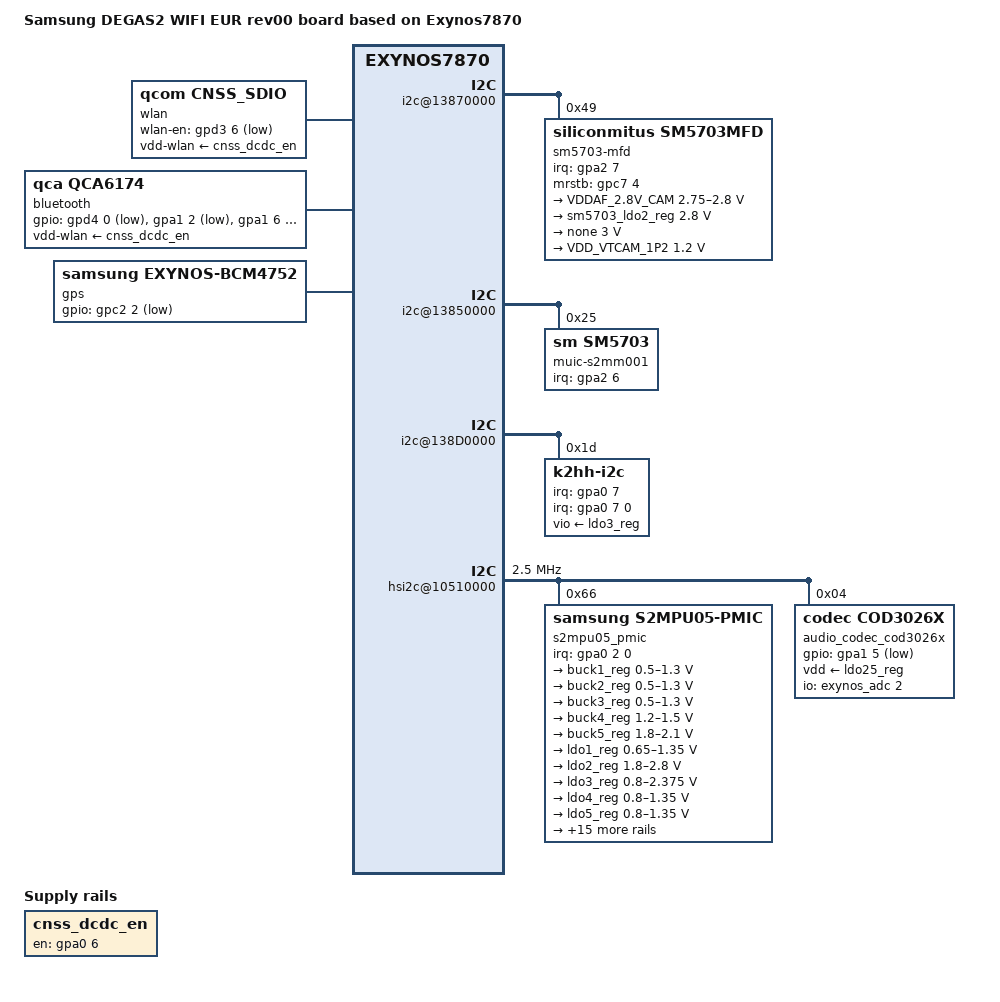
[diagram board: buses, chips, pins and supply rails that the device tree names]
/*
 * SAMSUNG UNIVERSAL8890 board device tree source
 *
 * Copyright (c) 2013 Samsung Electronics Co., Ltd.
 *		http://www.samsung.com
 *
 * This program is free software; you can redistribute it and/or modify
 * it under the terms of the GNU General Public License version 2 as
 * published by the Free Software Foundation.
*/

/dts-v1/;
#include "exynos7870-degas2wifi_common.dtsi"
#include "modem-ss315ap-pdata.dtsi"
#include "exynos7870-degas2wifi_eur_bmw_gpio_00.dtsi"
#include "exynos7870-degas2wifi_eur_bmw_battery_00.dtsi"

/ {
	model = "Samsung DEGAS2 WIFI EUR rev00 board based on Exynos7870";
        model_info-chip = <7870>;
        model_info-platform = "android";
        model_info-subtype = "samsung";
        model_info-hw_rev = <0>;
        model_info-hw_rev_end = <0>;
	compatible = "samsung, DEGAS2 WIFI EUR BMW 00", "samsung,exynos7870";

	cnss_dcdc_en: cnss_dcdc_en {
		compatible = "regulator-fixed";
		regulator-name = "cnss_dcdc_en";
		startup-delay-us = <4000>;
		enable-active-high;
		gpio = <&gpa0 6 0>;
	};

	i2c@13870000 {
		status = "okay";
		sm5703-mfd@49 {
			compatible = "siliconmitus,sm5703mfd";
			reg = <0x49>;
			pinctrl-names = "default";
			pinctrl-0 = <&chg_en &if_pmic_irq>;
			sm5703,irq-gpio = <&gpa2 7 0>;
			sm5703,mrstb-gpio = <&gpc7 4 0>;

			sm5703_ldo1 {
				compatible = "siliconmitus,sm5703-ldo1";
				regulator-name = "VDDAF_2.8V_CAM"; /* change name by yourself */
				regulator-min-microvolt = <2750000>;
				regulator-max-microvolt = <2800000>; /* max == min then apply_uV = 1 */
				/* regulator-microvolt-offset = < >; optional*/
				/* regulator-boot-on;*/ /* = "yes"; optional, exist = enabled */
				/* regulator-always-on;*/ /* = "yes"; optional, exist = enabled */
				/* regulator-ramp-delay = <100>; optional*/
			};

			sm5703_ldo2_reg: sm5703_ldo2 {
				compatible = "siliconmitus,sm5703-ldo2";
				regulator-name = "VDD_SENSOR_2P8"; /* change name by yourself */
				regulator-min-microvolt = <2800000>;
				regulator-max-microvolt = <2800000>; /* max == min then apply_uV = 1 */
				/* regulator-microvolt-offset = < >; optional*/
				/* regulator-boot-on;   = "yes"; optional, exist = enabled */
				regulator-always-on;   /* "yes"; optional, exist = enabled */
				/* regulator-ramp-delay = <100>; optional*/
			};

			sm5703_ldo3 {
				compatible = "siliconmitus,sm5703-ldo3";
				regulator-name = "none"; /* change name by yourself */
				regulator-min-microvolt = <3000000>;
				regulator-max-microvolt = <3000000>; /* max == min then apply_uV = 1 */
				/* regulator-microvolt-offset = < >; optional*/
				/* regulator-boot-on = "yes"; optional, exist = enabled */
				/* regulator-always-on = "yes"; optional, exist = enabled */
				/* regulator-ramp-delay = <100>; optional*/
			};

			sm5703_buck {
				compatible = "siliconmitus,sm5703-buck";
				regulator-name = "VDD_VTCAM_1P2"; /* change name by yourself */
				regulator-min-microvolt = <1200000>;
				regulator-max-microvolt = <1200000>; /* max == min then apply_uV = 1 */
				/* regulator-microvolt-offset = < >; optional*/
				/* regulator-boot-on = "yes"; optional, exist = enabled */
				/* regulator-always-on = "yes"; optional, exist = enabled */
				/* regulator-ramp-delay = <100>; optional*/
			};
		};
	};

	i2c@13850000 {
		status = "okay";

		muic-s2mm001@25 {
			compatible = "sm,sm5703";
			reg = <0x25>;
			pinctrl-names = "default";
			pinctrl-0 = <&muic_irq>;
			sm5703,irq-gpio = <&gpa2 6 0>;
		};
	};

	pinctrl@139F0000 {
		muic_irq: muic_irq {
			samsung,pins = "gpa2-6";
			samsung,pin-function = <0x0>;
			samsung,pin-pud = <3>;
		};
	};

	i2c@138D0000 {
		samsung,i2c-sda-delay = <100>;
		samsung,i2c-max-bus-freq = <400000>;
		status = "okay";
		#address-cells = <1>;
		#size-cells = <0>;
		k2hh-i2c@1D {
			compatible = "k2hh-i2c";
			reg = <0x1D>;
			pinctrl-names = "default";
			pinctrl-0 = <&acc_int>;
			interrupt-parent = <&gpa0>;
			interrupts = <7 0 0>;
			k2hh,irq_gpio = <&gpa0 7 0>;
			k2hh,vio-supply = <&ldo3_reg>;
			k2hh,axis_map_x = <0>;
			k2hh,axis_map_y = <1>;
			k2hh,axis_map_z = <2>;
			k2hh,negate_x = <1>;
			k2hh,negate_y = <1>;
			k2hh,negate_z = <1>;
			k2hh,poll_interval = <100>;
			k2hh,min_interval = <2>;
		};
	};

	but_zones: but_zones {
		#list-but-cells = <3>;
	};

	hsi2c@10510000 {
		status = "okay";
		samsung,hs-mode;
		clock-frequency = <2500000>;
		samsung,hsi2c-batcher;
		#address-cells = <1>;
		#size-cells = <0>;

		s2mpu05_pmic@66 {
			compatible = "samsung,s2mpu05-pmic";
			reg = <0x66>;
			ten-bit-address;
			interrupts = <2 0 0>;
			interrupt-parent = <&gpa0>;
			pinctrl-names = "default";
			pinctrl-0 = <&pmic_irq &pm_wrsti>;
			g3d_en = <1>; /* 1 : enable , 0 : disable */
			buck2en_pin = "etc1-3";
			buck2en_addr = "139B0080.pinctrl";
			/* RTC: wtsr/smpl */
			wtsr_en = <1>; /* enable */
			smpl_en = <1>; /* enable */
			wtsr_timer_val = <3>;   /* 1000ms */
			smpl_timer_val = <0>;   /* 100ms */
			check_jigon = <0>; /* do not check jigon */
			/* RTC: If it's first boot, reset rtc to 1/1/2016 12:00:00(Fri) */
			init_time,sec = <0>;
			init_time,min = <0>;
			init_time,hour = <12>;
			init_time,mday = <1>;
			init_time,mon = <0>;
			init_time,year = <116>;
			init_time,wday = <5>;

			regulators {
				buck1_reg: BUCK1 {
					regulator-name = "BUCK1";
					regulator-min-microvolt = <500000>;
					regulator-max-microvolt = <1300000>;
					regulator-always-on;
					regulator-boot-on;
					regulator-ramp-delay = <12000>;
					regulator-initial-mode = <1>;
					regulator-expected-consumer = <2>;
				};

				buck2_reg: BUCK2 {
					regulator-name = "BUCK2";
					regulator-min-microvolt = <500000>;
					regulator-max-microvolt = <1300000>;
					regulator-always-on;
					regulator-boot-on;
					regulator-ramp-delay = <12000>;
					regulator-initial-mode = <2>;		/* MIF mode */
					regulator-expected-consumer = <4>;
				};

				buck3_reg: BUCK3 {
					regulator-name = "BUCK3";
					regulator-min-microvolt = <500000>;
					regulator-max-microvolt = <1300000>;
					regulator-always-on;
					regulator-boot-on;
					regulator-ramp-delay = <12000>;
					regulator-initial-mode = <2>;
				};

				buck4_reg: BUCK4 {
					regulator-name = "BUCK4";
					regulator-min-microvolt = <1200000>;
					regulator-max-microvolt = <1500000>;
					regulator-always-on;
					regulator-boot-on;
					regulator-ramp-delay = <12000>;
					regulator-initial-mode = <2>;
				};

				buck5_reg: BUCK5 {
					regulator-name = "BUCK5";
					regulator-min-microvolt = <1800000>;
					regulator-max-microvolt = <2100000>;
					regulator-always-on;
					regulator-boot-on;
					regulator-ramp-delay = <12000>;
					regulator-initial-mode = <2>;
				};

				ldo1_reg: LDO1 {
					regulator-name = "vdd_ldo1";
					regulator-min-microvolt = <650000>;
					regulator-max-microvolt = <1350000>;
					regulator-always-on;
					regulator-boot-on;
					regulator-ramp-delay = <12000>;
					regulator-initial-mode = <3>;
				};

				ldo2_reg: LDO2 {
					regulator-name = "vqmmc";
					regulator-min-microvolt = <1800000>;
					regulator-max-microvolt = <2800000>;
					regulator-ramp-delay = <12000>;
					regulator-initial-mode = <0>;
				};

				ldo3_reg: LDO3 {
					regulator-name = "vdd_ldo3";
					regulator-min-microvolt = <800000>;
					regulator-max-microvolt = <2375000>;
					regulator-boot-on;
					regulator-always-on;
					regulator-ramp-delay = <12000>;
					regulator-initial-mode = <3>;
				};

				ldo4_reg: LDO4 {
					regulator-name = "vdd_ldo4";
					regulator-min-microvolt = <800000>;
					regulator-max-microvolt = <1350000>;
					regulator-boot-on;
					regulator-always-on;
					regulator-ramp-delay = <12000>;
					regulator-initial-mode = <1>;
				};

				ldo5_reg: LDO5 {
					regulator-name = "vdd_ldo5";
					regulator-min-microvolt = <800000>;
					regulator-max-microvolt = <1350000>;
					regulator-boot-on;
					regulator-always-on;
					regulator-ramp-delay = <12000>;
					regulator-initial-mode = <3>;
				};

				ldo6_reg: LDO6 {
					regulator-name = "vdd_ldo6";
					regulator-min-microvolt = <800000>;
					regulator-max-microvolt = <1350000>;
					regulator-boot-on;
					regulator-always-on;
					regulator-ramp-delay = <12000>;
					regulator-initial-mode = <1>;
				};

				ldo7_reg: LDO7 {
					regulator-name = "vdd_ldo7";
					regulator-min-microvolt = <800000>;
					regulator-max-microvolt = <2375000>;
					regulator-boot-on;
					regulator-always-on;
					regulator-ramp-delay = <12000>;
					regulator-initial-mode = <1>;
				};

				ldo8_reg: LDO8 {
					regulator-name = "vdd_ldo8";
					regulator-min-microvolt = <1800000>;
					regulator-max-microvolt = <3375000>;
					regulator-boot-on;
					regulator-always-on;
					regulator-ramp-delay = <12000>;
					regulator-initial-mode = <1>;
				};

				ldo9_reg: LDO9 {
					regulator-name = "vdd_ldo9";
					regulator-min-microvolt = <650000>;
					regulator-max-microvolt = <1350000>;
					regulator-always-on;
					regulator-ramp-delay = <12000>;
					regulator-initial-mode = <1>;
				};

				ldo10_reg: LDO10 {
					regulator-name = "vdd_ldo10";
					regulator-min-microvolt = <650000>;
					regulator-max-microvolt = <1350000>;
					regulator-always-on;
					regulator-ramp-delay = <12000>;
					regulator-initial-mode = <1>;
				};

				ldo25_reg: LDO25 {
					regulator-name = "VDDIO_1.8V_CAM";
					regulator-min-microvolt = <1800000>;
					regulator-max-microvolt = <1800000>;
					regulator-initial-mode = <0>;
				};

				ldo26_reg: LDO26 {
					regulator-name = "vemmc";
					regulator-min-microvolt = <1800000>;
					regulator-max-microvolt = <3375000>;
					regulator-boot-on;
					regulator-ramp-delay = <12000>;
					regulator-initial-mode = <3>;
				};

				ldo27_reg: LDO27 {
					regulator-name = "vqemmc";
					regulator-min-microvolt = <800000>;
					regulator-max-microvolt = <2375000>;
					regulator-boot-on;
					regulator-ramp-delay = <12000>;
					regulator-initial-mode = <3>;
				};

				ldo29_reg: LDO29 {
					regulator-name = "VDD_CAM_AF_2P8";
					regulator-min-microvolt = <2800000>;
					regulator-max-microvolt = <2800000>;
					regulator-initial-mode = <0>;
				};

				ldo30_reg: LDO30 {
					regulator-name = "LCD_1P8";
					regulator-min-microvolt = <1800000>;
					regulator-max-microvolt = <1800000>;
					regulator-initial-mode = <3>;
				};

				ldo31_reg: LDO31 {
					regulator-name = "vdd_ldo31";
					regulator-min-microvolt = <2800000>;
					regulator-max-microvolt = <2800000>;
					regulator-always-on;
					regulator-ramp-delay = <12000>;
				        regulator-initial-mode = <3>;
				};

				ldo32_reg: LDO32 {
					regulator-name = "TSP_VDD_3P3";
					regulator-min-microvolt = <3300000>;
					regulator-max-microvolt = <3300000>;
					regulator-initial-mode = <3>;
				};

				ldo33_reg: LDO33 {
					regulator-name = "VT_CAM_2P8";
					regulator-min-microvolt = <2800000>;
					regulator-max-microvolt = <2800000>;
					regulator-initial-mode = <0>;
				};

				ldo34_reg: LDO34 {
					regulator-name = "ldo_34";
					regulator-min-microvolt = <1800000>;
					regulator-max-microvolt = <1800000>;
				};

				ldo35_reg: LDO35 {
					regulator-name = "VDD_CAM_SENSOR_A2P8";
					regulator-min-microvolt = <2800000>;
					regulator-max-microvolt = <2800000>;
					regulator-initial-mode = <0>;
				};
			};
		};

		audio_codec_cod3026x: cod3026x@04 {
			compatible = "codec,cod3026x";
			reg = <0x04>;
			ten-bit-address;
			vdd-supply = <&ldo25_reg>;
			pinctrl-names = "default";
			pinctrl-0 = <&cod3026_irq>;
			interrupt-parent = <&gpa1>;
			gpios = <&gpa1 5 0xf>;
			mic-bias1-voltage = <1>;
			mic-bias2-voltage = <1>;
			mic-bias-ldo-voltage = <3>;
			use-det-adc-mode;
			io-channels = <&exynos_adc 2>;
			io-channel-names = "adc-jack";
			#io-channel-cells = <1>;
			io-channel-ranges;
			but-zones-list = <&but_zones 226 0 215>, /* send/end */
					<&but_zones 582 216 295>, /* google */
					<&but_zones 115 296 495>, /* vol up */
					<&but_zones 114 496 1000>; /* vol down */
			mic-adc-range = <1360>;
		};
	};

	wlan {
		compatible = "qcom,cnss_sdio";
		wlan-en-gpio = <&gpd3 6 0x1>; /* WLAN_EN */
		wlan-host-wake = <&gpa2 2 0>; /* WLAN_HOST_WAKE */
		vdd-wlan-supply = <&cnss_dcdc_en>; /* DCDC_EN regulator */
		pinctrl-names = "default";
		pinctrl-0 = <&cnss_wlanen &cfg_wlanhostwake>;
		status = "okay";
	};

	pinctrl@13750000 {
		sd1_bus1: sd1-bus-width1 {
			samsung,pin-pud = <3>;
		};

		sd1_bus4: sd1-bus-width4 {
			samsung,pin-pud = <3>;
		};
	};
	
	bluetooth {
		compatible = "qca,qca6174";
		gpios = <&gpd4 0 0x1	/*BT_EN*/
				&gpa1 2 0x1	/*BT_WAKE*/
				&gpa1 6 0xF	/*BT_HOST_WAKE*/ >;
		vdd-wlan-supply = <&cnss_dcdc_en>; /* DCDC_EN regulator */
		pinctrl-names = "default";
		pinctrl-0=<&bt_hostwake &bt_btwake &bt_en>;
		status = "okay";
	};

	pinctrl@139F0000 {
		mpu_irq: mpu_irq {
			samsung,pins = "gpa2-3";
			samsung,pin-function = <0>;
			samsung,pin-pud = <1>;
			samsung,pin-drv = <0>;
		};
	};

	pinctrl@139B0000 {
		sensor_i2c: sensor_i2c {
			samsung,pins = "gpc4-3", "gpc4-2";
			samsung,pin-function = <2>;
			samsung,pin-pud = <0>;
		};

		proxy_i2c: proxy_i2c {
			samsung,pins = "gpc5-1", "gpc5-0";
			samsung,pin-function = <2>;
			samsung,pin-pud = <0>;
		};
	};

	pinctrl@139F0000 {
		fmradio_irq: fmradio-irq {
			samsung,pins = "gpa2-4";
			samsung,pin-function = <0xf>;
			samsung,pin-pud = <0>;
			samsung,pin-drv = <0>;
		};
	};

	pinctrl@139B0000 {
			uart1_rx: uart1-rts {
			samsung,pins = "gpd2-3";
			samsung,pin-function = <2>;
			samsung,pin-pud = <3>;
			samsung,pin-con-pdn = <1>;
			samsung,pin-pud-pdn = <3>;
		};

			uart1_tx: uart1-cts {
			samsung,pins = "gpd2-2";
			samsung,pin-function = <2>;
			samsung,pin-pud = <3>;
			samsung,pin-con-pdn = <2>;
			samsung,pin-pud-pdn = <3>;
		};

		uart1_cts: uart1-tx {
			samsung,pins = "gpd2-1";
			samsung,pin-function = <2>;
			samsung,pin-pud = <3>;
			samsung,pin-con-pdn = <1>;
			samsung,pin-pud-pdn = <3>;
		};

		uart1_rts: uart1-rx {
			samsung,pins = "gpd2-0";
			samsung,pin-function = <2>;
			samsung,pin-pud = <3>;
			samsung,pin-con-pdn = <2>;
			samsung,pin-pud-pdn = <3>;
		};

	};

	serial@13800000 {
	       pinctrl-names = "default";
		pinctrl-0 = <&uart1_rts &uart1_cts &uart1_tx &uart1_rx>;
	};

	gps {
		compatible = "samsung,exynos-bcm4752";
		gpios = <&gpc2 2 0x1 >; /* GPS_EN */
		status = "okay";
	};

	dsim_0: dsim@14800000 {
		decon_board = <&decon_board_old>;
	};

};
